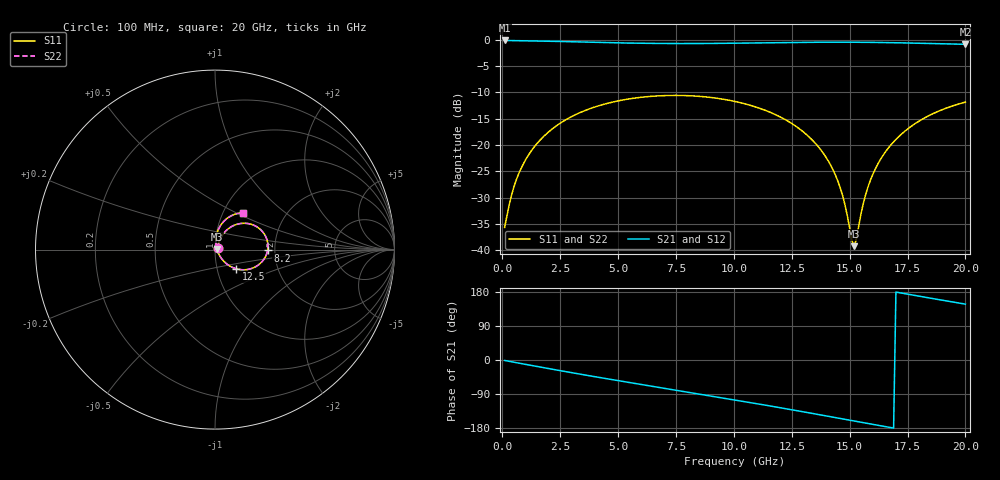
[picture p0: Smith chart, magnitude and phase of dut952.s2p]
! Touchstone file exported from HFSS 2026.1.0
!  File:  C:/ffzhzh/LocalFiles/Ansys_Project_Files/temp_train_TSV_RDL_952_1783283445_38704.aedt
!  Generated:  04:41:00 AM Jul  6, 2026
!  Design:  TSV_RDL
!  Project:  temp_train_TSV_RDL_952_1783283445_38704
! Variables:
!  h_bsmrdl = 5.8um
!  h_ox = 20um
!  h_rdl = 5um
!  h_sub = 84.41um
!  h_tmrdl = 5.45um
!  h_tsv = 84.41um
!  h_via = 3um
!  l_bsmrdl = 498.4um
!  l_sub = 3340.22um
!  l_tmrdl = 338.29um
!  m_sub = 200um
!  pitch = 30.98um
!  r_tsv = 9.11um
!  s_tmrdl = 10um
!  w_bsmrdl = 19.92um
!  w_sub = 500um
!  w_tmrdl = 10.7um
!  x_tsv_center1 = 343.64um
!  x_tsv_center2 = 861.96um
!  x_tsv_center3 = 1210.95um
!  x_tsv_center4 = 1729.27um
!  x_tsv_center5 = 2078.26um
!  x_tsv_center6 = 2596.58um
# GHz S MA R 50.000000
! Terminal data exported
! Port[1] = TM_RDL1_1_T1
! Port[2] = TM_RDL5_1_T1
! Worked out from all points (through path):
!   200 points, 100 MHz to 20 GHz, reference 50 ohm
!   highest |S21| = -0.13 dB at 100 MHz (marker M1); lowest = -0.9 dB at 20 GHz (marker M2)
!   group delay of S21, straight-line fit = 29.3 ps
!   lowest |S11| = -39.2 dB at 15.2 GHz (marker M3), VSWR 1.02, Z = 51 + j0.366 ohm
!   |S11| at or under -10 dB: start of sweep to end of sweep
!   |S22| runs from -39.0 to -10.6 dB; largest |S21 - S12| = 1.8e-14
!   S11 on the Smith chart (normalised r, x): 100 MHz: 1.03, +0.02; 8.2 GHz: 1.83, -0.02; 12.5 GHz: 1.24, -0.27; 20 GHz: 1.23, +0.54
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0.1  0.01647 27.6  0.9855 -1.2  0.9855 -1.2  0.01647 27.6
! Gamma 0 0 0 0
! Port Impedance 50 0 50 0
0.4  0.03339 57.4  0.9833 -4.7  0.9833 -4.7  0.03339 57.4
0.6  0.04628 62.0  0.9821 -6.9  0.9821 -6.9  0.04628 62.0
1.2  0.0846 63.4  0.9778 -13.7  0.9778 -13.7  0.0846 63.4
2.2  0.1445 56.4  0.9675 -24.8  0.9675 -24.8  0.1445 56.4
3.5  0.2095 44.2  0.9515 -38.8  0.9515 -38.8  0.2095 44.2
6.8  0.2936 12.4  0.923 -72.6  0.923 -72.6  0.2936 12.5
8.2  0.293 -0.9  0.9213 -86.6  0.9213 -86.6  0.293 -0.8
10.1  0.2579 -19.1  0.9283 -105.9  0.9283 -105.9  0.2579 -19.0
12.5  0.1601 -42.0  0.9435 -131.3  0.9435 -131.3  0.1601 -41.9
13.4  0.1107 -49.7  0.9476 -141.1  0.9476 -141.1  0.1107 -49.6
14  0.07528 -53.4  0.9491 -147.7  0.9491 -147.7  0.07529 -53.2
14.5  0.0449 -53.1  0.9495 -153.2  0.9495 -153.2  0.04494 -52.7
14.8  0.02697 -46.5  0.9492 -156.5  0.9492 -156.5  0.02707 -45.8
15.1  0.01227 -10.9  0.9486 -159.9  0.9486 -159.9  0.01254 -10.1
15.2  0.01092 19.2  0.9483 -161.0  0.9483 -161.0  0.01125 19.2
15.6  0.02833 78.5  0.9469 -165.4  0.9469 -165.4  0.02849 77.9
15.8  0.04031 83.3  0.9459 -167.6  0.9459 -167.6  0.04044 82.8
16.2  0.06483 85.0  0.9436 -172.0  0.9436 -172.0  0.06493 84.7
16.7  0.09522 82.8  0.9399 -177.5  0.9399 -177.5  0.09529 82.6
18.1  0.1738 71.1  0.9264 167.3  0.9264 167.3  0.1739 71.0
20  0.2556 53.2  0.906 147.4  0.906 147.4  0.2556 53.1
